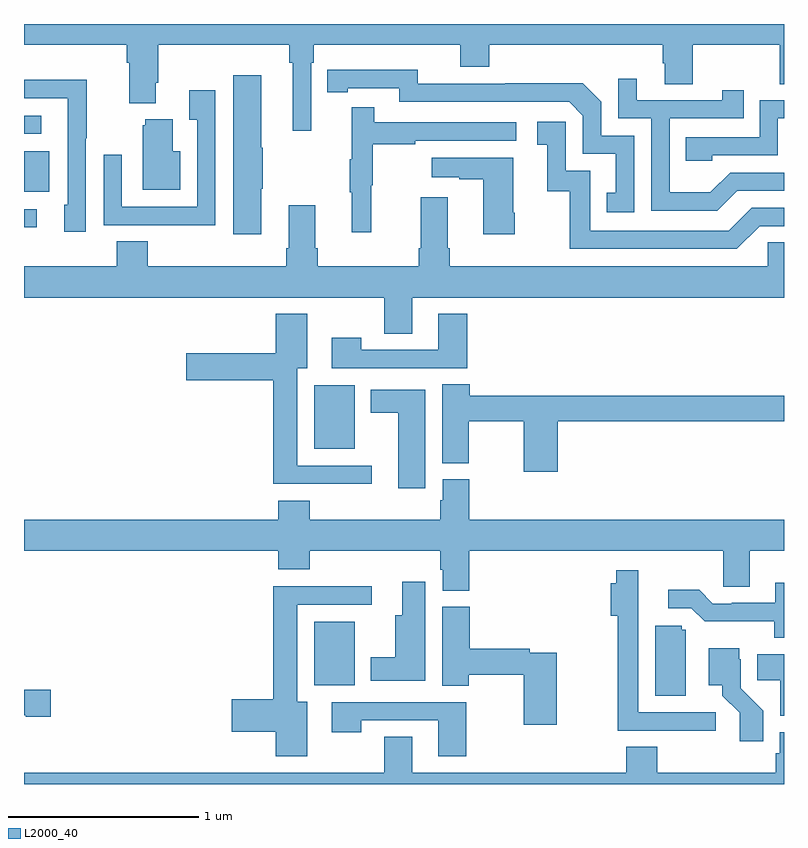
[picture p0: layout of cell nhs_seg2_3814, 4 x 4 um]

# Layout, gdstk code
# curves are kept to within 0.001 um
import gdstk
lib = gdstk.Library(unit=1e-6, precision=1e-09)
def R(c, l, rs):  # rectangles x0, y0, x1, y1
    for r in rs: c.add(gdstk.rectangle(r[:2], r[2:], *l))
def P(c, l, *ps):  # polygons
    for p in ps: c.add(gdstk.Polygon(p, *l))
L2000_40 = (2000, 40)

nhs_seg2_3814 = lib.new_cell('nhs_seg2_3814')
R(nhs_seg2_3814, L2000_40, [(314.528,588.32,314.74,588.655), (314.528,589.565,314.74,589.9), (313,590.729,313.066,590.826), (313,590.918,313.132,591.13), (313,591.222,313.09,591.318)])
P(nhs_seg2_3814, L2000_40, [(314.511,591.596),(314.525,591.596),(314.525,591.692),(315.296,591.692),(315.296,591.575),(315.449,591.575),(315.449,591.692),(316.361,591.692),(316.361,591.594),(316.373,591.594),(316.373,591.484),(316.521,591.484),(316.521,591.692),(316.978,591.692),(316.978,591.484),(317,591.484),(317,591.8),(313,591.8),(313,591.692),(313.541,591.692),(313.541,591.596),(313.553,591.596),(313.553,591.383),(313.693,591.383),(313.693,591.49),(313.706,591.49),(313.706,591.692),(314.395,591.692),(314.395,591.596),(314.414,591.596),(314.414,591.237),(314.511,591.237)],
  [(316.212,591.213),(316.038,591.213),(316.038,591.39),(315.94,591.488),(315.532,591.488),(315.532,591.486),(315.072,591.486),(315.072,591.559),(314.596,591.558),(314.596,591.442),(314.704,591.442),(314.704,591.462),(314.976,591.462),(314.976,591.39),(315.87,591.39),(315.942,591.318),(315.942,591.117),(316.115,591.117),(316.115,590.913),(316.066,590.913),(316.066,590.808),(316.212,590.808)],
  [(314.248,590.932),(314.256,590.932),(314.256,591.149),(314.248,591.149),(314.248,591.529),(314.102,591.529),(314.102,590.694),(314.248,590.694)],
  [(316.753,590.922),(317,590.922),(317,591.018),(316.716,591.018),(316.612,590.914),(316.398,590.914),(316.398,591.303),(316.787,591.303),(316.787,591.451),(316.676,591.451),(316.676,591.399),(316.225,591.399),(316.225,591.511),(316.128,591.511),(316.128,591.303),(316.302,591.303),(316.302,590.817),(316.648,590.817)],
  [(313.326,591.199),(313.329,591.199),(313.329,591.506),(313,591.506),(313,591.408),(313.229,591.408),(313.229,591.154),(313.23,591.154),(313.23,590.85),(313.211,590.85),(313.211,590.706),(313.326,590.706)],
  [(314.007,591.451),(313.871,591.451),(313.871,591.295),(313.911,591.295),(313.911,590.838),(313.515,590.838),(313.515,591.112),(313.419,591.112),(313.419,590.742),(313.735,590.742),(313.735,590.741),(314.007,590.741)],
  [(316.623,591.108),(316.968,591.108),(316.968,591.303),(317,591.303),(317,591.399),(316.872,591.399),(316.872,591.204),(316.483,591.204),(316.483,591.081),(316.623,591.081)],
  [(314.828,590.952),(314.836,590.952),(314.836,591.166),(315.059,591.166),(315.059,591.186),(315.592,591.186),(315.592,591.282),(314.843,591.282),(314.843,591.361),(314.726,591.361),(314.726,591.089),(314.715,591.089),(314.715,590.915),(314.726,590.915),(314.726,590.703),(314.828,590.703)],
  [(313.822,591.13),(313.783,591.13),(313.783,591.298),(313.637,591.298),(313.637,591.267),(313.625,591.267),(313.625,590.927),(313.822,590.927)],
  [(316.872,590.736),(317,590.736),(317,590.832),(316.83,590.832),(316.71,590.712),(315.981,590.712),(315.981,591.027),(315.852,591.027),(315.852,591.286),(315.702,591.286),(315.702,591.165),(315.755,591.165),(315.755,590.919),(315.873,590.919),(315.873,590.616),(316.752,590.616)],
  [(315.582,590.806),(315.574,590.806),(315.574,591.097),(315.147,591.097),(315.147,590.993),(315.29,590.993),(315.29,590.983),(315.416,590.983),(315.416,590.694),(315.582,590.694)],
  [(315.043,590.36),(317,590.36),(317,590.651),(316.914,590.651),(316.914,590.524),(315.242,590.524),(315.242,590.62),(315.229,590.62),(315.229,590.887),(315.089,590.887),(315.089,590.62),(315.077,590.62),(315.077,590.524),(314.546,590.524),(314.546,590.62),(314.533,590.62),(314.533,590.845),(314.393,590.845),(314.393,590.62),(314.381,590.62),(314.381,590.524),(313.652,590.524),(313.652,590.657),(313.487,590.657),(313.487,590.524),(313,590.524),(313,590.36),(314.896,590.36),(314.896,590.17),(315.043,590.17)],
  [(314.83,589.476),(314.437,589.476),(314.437,589.988),(314.491,589.988),(314.491,590.275),(314.324,590.275),(314.324,590.067),(313.854,590.067),(313.854,589.925),(314.312,589.925),(314.312,589.379),(314.83,589.379)],
  [(315.332,590.275),(315.179,590.275),(315.179,590.085),(314.775,590.085),(314.775,590.149),(314.619,590.149),(314.619,589.989),(315.332,589.989)],
  [(315.809,589.708),(317,589.708),(317,589.844),(315.347,589.844),(315.347,589.904),(315.2,589.904),(315.2,589.489),(315.342,589.489),(315.342,589.708),(315.631,589.708),(315.631,589.443),(315.809,589.443)],
  [(315.112,589.876),(314.825,589.876),(314.825,589.754),(314.969,589.754),(314.969,589.356),(315.112,589.356)],
  [(315.344,589.028),(316.68,589.028),(316.68,588.838),(316.819,588.838),(316.819,589.028),(317,589.028),(317,589.192),(315.344,589.192),(315.344,589.404),(315.203,589.404),(315.203,589.293),(315.191,589.293),(315.191,589.192),(314.504,589.192),(314.504,589.291),(314.339,589.291),(314.339,589.192),(313,589.192),(313,589.028),(314.339,589.028),(314.339,588.929),(314.504,588.929),(314.504,589.028),(315.191,589.028),(315.191,588.927),(315.203,588.927),(315.203,588.817),(315.344,588.817)],
  [(316.642,588.177),(316.233,588.177),(316.233,588.702),(316.234,588.702),(316.234,588.925),(316.117,588.925),(316.117,588.856),(316.088,588.856),(316.088,588.686),(316.125,588.686),(316.125,588.081),(316.417,588.081),(316.417,588.079),(316.642,588.079)],
  [(315.112,588.865),(314.99,588.865),(314.99,588.688),(314.954,588.688),(314.954,588.466),(314.825,588.466),(314.825,588.344),(315.112,588.344)],
  [(317,588.859),(316.955,588.859),(316.955,588.753),(316.726,588.753),(316.726,588.75),(316.626,588.75),(316.553,588.823),(316.392,588.823),(316.392,588.726),(316.512,588.726),(316.583,588.656),(316.948,588.656),(316.948,588.569),(317,588.569)],
  [(314.491,588.232),(314.437,588.232),(314.437,588.744),(314.83,588.744),(314.83,588.842),(314.312,588.842),(314.312,588.245),(314.094,588.245),(314.094,588.074),(314.324,588.074),(314.324,587.946),(314.491,587.946)],
  [(315.804,588.492),(315.662,588.492),(315.662,588.512),(315.347,588.512),(315.347,588.732),(315.2,588.732),(315.2,588.316),(315.342,588.316),(315.342,588.376),(315.631,588.376),(315.631,588.111),(315.804,588.111)],
  [(316.483,588.612),(316.461,588.612),(316.461,588.633),(316.322,588.633),(316.322,588.264),(316.483,588.264)],
  [(316.892,588.186),(316.773,588.305),(316.773,588.456),(316.765,588.456),(316.765,588.514),(316.604,588.514),(316.604,588.32),(316.676,588.32),(316.676,588.265),(316.767,588.175),(316.767,588.024),(316.892,588.024)],
  [(317,588.484),(316.858,588.484),(316.858,588.346),(316.979,588.346),(316.979,588.158),(317,588.158)],
  [(313.141,588.296),(313,588.296),(313,588.161),(313.008,588.161),(313.008,588.154),(313.141,588.154)],
  [(315.327,588.231),(314.619,588.231),(314.619,588.072),(314.775,588.072),(314.775,588.135),(315.179,588.135),(315.179,587.946),(315.327,587.946)],
  [(317,588.073),(316.977,588.073),(316.977,587.961),(316.957,587.961),(316.957,587.86),(316.334,587.86),(316.334,587.996),(316.169,587.996),(316.169,587.86),(315.043,587.86),(315.043,588.05),(314.896,588.05),(314.896,587.86),(313,587.86),(313,587.8),(317,587.8)])

lib.write_gds('nhs_seg2_3814.gds')
